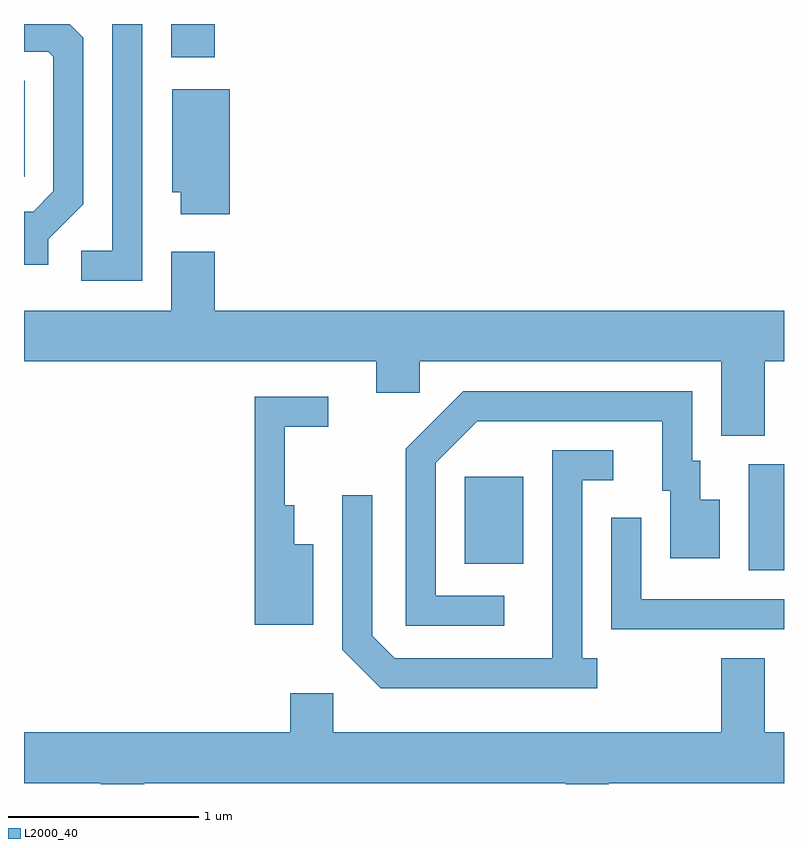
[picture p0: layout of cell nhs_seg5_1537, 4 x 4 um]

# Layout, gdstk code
import gdstk
lib = gdstk.Library(unit=1e-6, precision=1e-09)
def R(c, l, rs):  # rectangles x0, y0, x1, y1
    for r in rs: c.add(gdstk.rectangle(r[:2], r[2:], *l))
def P(c, l, *ps):  # polygons
    for p in ps: c.add(gdstk.Polygon(p, *l))
L2000_40 = (2000, 40)

nhs_seg5_1537 = lib.new_cell('nhs_seg5_1537')
R(nhs_seg5_1537, L2000_40, [(233.426,1511.196,233.611,1511.754), (231.931,1511.231,232.239,1511.689), (229.611,1513.268,229.614,1513.774), (230.386,1513.896,230.614,1514.072)])
P(nhs_seg5_1537, L2000_40, [(230.234,1514.072),(230.076,1514.072),(230.076,1512.879),(229.913,1512.879),(229.913,1512.721),(230.234,1512.721)],
  [(229.739,1512.939),(229.924,1513.124),(229.924,1513.999),(229.851,1514.072),(229.611,1514.072),(229.611,1513.926),(229.739,1513.926),(229.766,1513.899),(229.766,1513.192),(229.659,1513.084),(229.611,1513.084),(229.611,1512.806),(229.739,1512.806)],
  [(230.694,1513.729),(230.391,1513.729),(230.391,1513.186),(230.436,1513.186),(230.436,1513.071),(230.694,1513.071)],
  [(233.509,1512.296),(233.611,1512.296),(233.611,1512.564),(230.614,1512.564),(230.614,1512.874),(230.386,1512.874),(230.386,1512.564),(229.611,1512.564),(229.611,1512.296),(231.466,1512.296),(231.466,1512.131),(231.694,1512.131),(231.694,1512.296),(233.281,1512.296),(233.281,1511.906),(233.509,1511.906)],
  [(232.138,1511.064),(231.779,1511.064),(231.779,1511.764),(231.997,1511.981),(232.971,1511.981),(232.971,1511.616),(233.011,1511.616),(233.011,1511.261),(233.274,1511.261),(233.274,1511.569),(233.169,1511.569),(233.169,1511.774),(233.129,1511.774),(233.129,1512.139),(231.924,1512.139),(231.621,1511.837),(231.621,1510.906),(232.138,1510.906)],
  [(231.134,1511.334),(231.034,1511.334),(231.034,1511.539),(230.984,1511.539),(230.984,1511.951),(231.213,1511.951),(231.213,1512.109),(230.826,1512.109),(230.826,1510.911),(231.134,1510.911)],
  [(232.628,1510.734),(232.549,1510.734),(232.549,1511.671),(232.713,1511.671),(232.713,1511.829),(232.391,1511.829),(232.391,1510.734),(231.562,1510.734),(231.444,1510.852),(231.444,1511.593),(231.286,1511.593),(231.286,1510.779),(231.489,1510.576),(232.628,1510.576)],
  [(233.611,1511.044),(232.859,1511.044),(232.859,1511.473),(232.701,1511.473),(232.701,1510.886),(233.611,1510.886)],
  [(230.244,1510.076),(232.461,1510.076),(232.461,1510.072),(232.689,1510.072),(232.689,1510.076),(233.611,1510.076),(233.611,1510.344),(233.509,1510.344),(233.509,1510.734),(233.281,1510.734),(233.281,1510.344),(231.239,1510.344),(231.239,1510.549),(231.011,1510.549),(231.011,1510.344),(229.611,1510.344),(229.611,1510.076),(230.016,1510.076),(230.016,1510.072),(230.244,1510.072)])

lib.write_gds('nhs_seg5_1537.gds')
